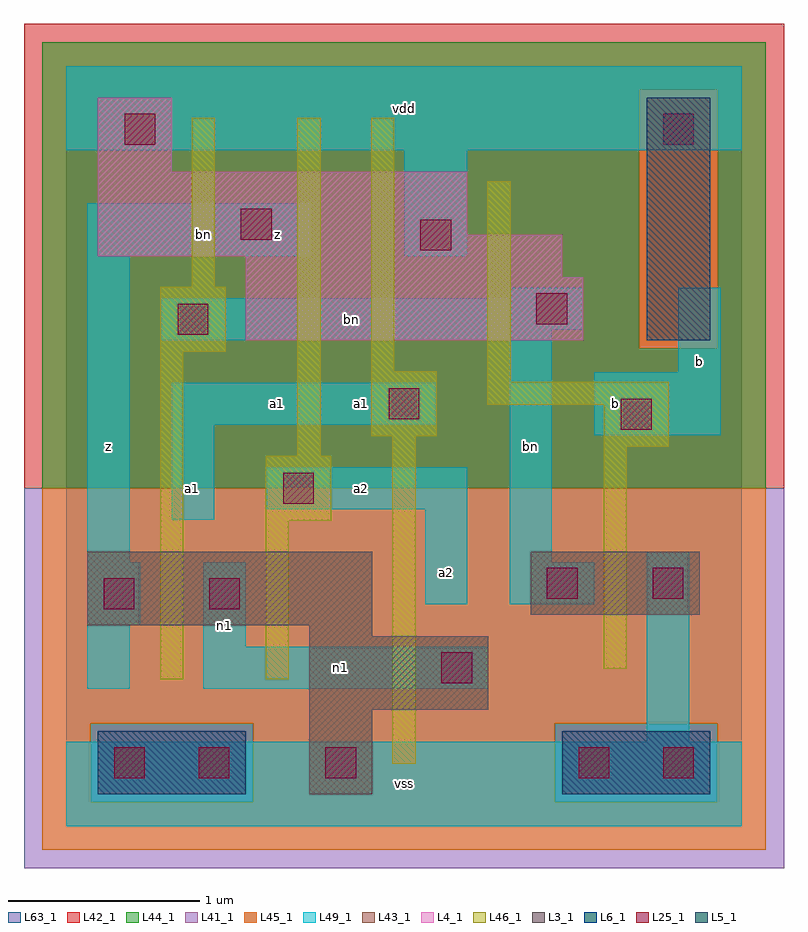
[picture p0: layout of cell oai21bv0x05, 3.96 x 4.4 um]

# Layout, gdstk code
import gdstk
lib = gdstk.Library(unit=1e-6, precision=1e-09)
def R(c, l, rs):  # rectangles x0, y0, x1, y1
    for r in rs: c.add(gdstk.rectangle(r[:2], r[2:], *l))
L3_1 = (3, 1)
L4_1 = (4, 1)
L5_1 = (5, 1)
L6_1 = (6, 1)
L25_1 = (25, 1)
L41_1 = (41, 1)
L42_1 = (42, 1)
L43_1 = (43, 1)
L44_1 = (44, 1)
L45_1 = (45, 1)
L46_1 = (46, 1)
L49_1 = (49, 1)
L63_1 = (63, 1)

oai21bv0x05 = lib.new_cell('oai21bv0x05')
R(oai21bv0x05, L3_1, [(1.265,0.165,1.595,0.605), (1.265,0.605,2.2,0.99), (1.265,0.99,1.595,1.045), (0.11,1.045,1.595,1.43), (2.42,1.1,3.3,1.43)])
R(oai21bv0x05, L4_1, [(0.935,2.53,2.695,2.86), (0.935,2.86,2.585,2.97), (0.165,2.97,2.585,3.08), (0.165,3.08,2.09,3.41), (0.165,3.41,0.55,3.795)])
R(oai21bv0x05, L5_1, [(3.025,2.53,3.355,3.795)])
R(oai21bv0x05, L6_1, [(0.165,0.165,0.935,0.495), (2.585,0.165,3.355,0.495)])
R(oai21bv0x05, L25_1, [(0.25,0.25,0.41,0.41), (0.69,0.25,0.85,0.41), (1.35,0.25,1.51,0.41), (2.67,0.25,2.83,0.41), (3.11,0.25,3.27,0.41), (1.955,0.745,2.115,0.905), (0.195,1.13,0.355,1.29), (0.745,1.13,0.905,1.29), (2.505,1.185,2.665,1.345), (3.055,1.185,3.215,1.345), (1.13,1.68,1.29,1.84), (2.89,2.065,3.05,2.225), (1.68,2.12,1.84,2.28), (0.58,2.56,0.74,2.72), (2.45,2.615,2.61,2.775), (1.845,3,2.005,3.16), (0.91,3.055,1.07,3.215), (0.305,3.55,0.465,3.71), (3.11,3.55,3.27,3.71)])
R(oai21bv0x05, L41_1, [(-0.22,-0.22,3.74,1.76)])
R(oai21bv0x05, L42_1, [(-0.22,1.76,3.74,4.18)])
R(oai21bv0x05, L43_1, [(0.165,0.165,0.935,0.495), (1.265,0.165,1.595,0.605), (2.585,0.165,3.355,0.495), (1.265,0.605,2.2,0.99), (1.265,0.99,1.595,1.045), (0.11,1.045,1.595,1.43), (2.42,1.1,3.3,1.43), (0.935,2.53,2.695,2.86), (3.025,2.53,3.355,3.795), (0.935,2.86,2.585,2.97), (0.165,2.97,2.585,3.08), (0.165,3.08,2.09,3.41), (0.165,3.41,0.55,3.795)])
R(oai21bv0x05, L44_1, [(0.125,0.125,0.975,0.535), (2.545,0.125,3.395,0.535), (-0.125,1.76,3.645,2.49), (-0.125,2.49,2.985,3.835), (3.395,2.49,3.645,3.835), (-0.125,3.835,3.645,4.085)])
R(oai21bv0x05, L45_1, [(-0.125,-0.125,3.645,0.125), (-0.125,0.125,0.125,0.535), (0.975,0.125,2.545,0.535), (3.395,0.125,3.645,0.535), (-0.125,0.535,3.645,1.76), (2.985,2.49,3.395,3.835)])
R(oai21bv0x05, L46_1, [(1.7,0.325,1.82,2.03), (0.49,0.765,0.61,2.47), (1.04,0.765,1.16,1.59), (2.8,0.82,2.92,1.975), (1.04,1.59,1.38,1.93), (1.205,1.93,1.325,3.69), (2.8,1.975,3.14,2.195), (1.59,2.03,1.93,2.37), (2.195,2.195,3.14,2.315), (2.195,2.315,2.315,3.36), (1.59,2.37,1.71,3.69), (0.49,2.47,0.83,2.81), (0.655,2.81,0.775,3.69)])
R(oai21bv0x05, L49_1, [(0,0,3.52,0.44), (3.025,0.44,3.245,1.43), (0.11,0.715,0.33,1.045), (0.715,0.715,2.2,0.935), (0.715,0.935,0.935,1.375), (0.11,1.045,0.385,1.375), (1.87,1.155,2.09,1.65), (2.31,1.155,2.75,1.375), (0.11,1.375,0.33,2.97), (2.31,1.375,2.53,2.53), (0.55,1.595,0.77,2.09), (1.045,1.65,2.09,1.87), (2.75,2.035,3.41,2.365), (0.55,2.09,1.925,2.31), (3.19,2.365,3.41,2.805), (0.495,2.53,2.53,2.585), (0.495,2.585,2.695,2.75), (2.31,2.75,2.695,2.805), (0.11,2.97,1.265,3.245), (1.76,2.97,2.09,3.52), (0,3.52,3.52,3.96)])
R(oai21bv0x05, L63_1, [(0,0,3.52,3.96)])
oai21bv0x05.add(gdstk.Label('bn', (0.715,3.08), layer=46, texttype=1))
oai21bv0x05.add(gdstk.Label('a1', (0.66,1.76), layer=49, texttype=1))
oai21bv0x05.add(gdstk.Label('z', (0.22,1.98), layer=49, texttype=1))
oai21bv0x05.add(gdstk.Label('z', (0.66,3.08), layer=49, texttype=1))
oai21bv0x05.add(gdstk.Label('n1', (0.825,1.045), layer=49, texttype=1))
oai21bv0x05.add(gdstk.Label('a2', (1.54,1.76), layer=49, texttype=1))
oai21bv0x05.add(gdstk.Label('a1', (1.54,2.2), layer=49, texttype=1))
oai21bv0x05.add(gdstk.Label('a1', (1.1,2.2), layer=49, texttype=1))
oai21bv0x05.add(gdstk.Label('z', (1.1,3.08), layer=49, texttype=1))
oai21bv0x05.add(gdstk.Label('vss', (1.76,0.22), layer=49, texttype=1))
oai21bv0x05.add(gdstk.Label('n1', (1.43,0.825), layer=49, texttype=1))
oai21bv0x05.add(gdstk.Label('a2', (1.98,1.32), layer=49, texttype=1))
oai21bv0x05.add(gdstk.Label('bn', (2.42,1.98), layer=49, texttype=1))
oai21bv0x05.add(gdstk.Label('bn', (1.485,2.64), layer=49, texttype=1))
oai21bv0x05.add(gdstk.Label('vdd', (1.76,3.74), layer=49, texttype=1))
oai21bv0x05.add(gdstk.Label('b', (2.86,2.2), layer=49, texttype=1))
oai21bv0x05.add(gdstk.Label('b', (3.3,2.42), layer=49, texttype=1))

lib.write_gds('oai21bv0x05.gds')
